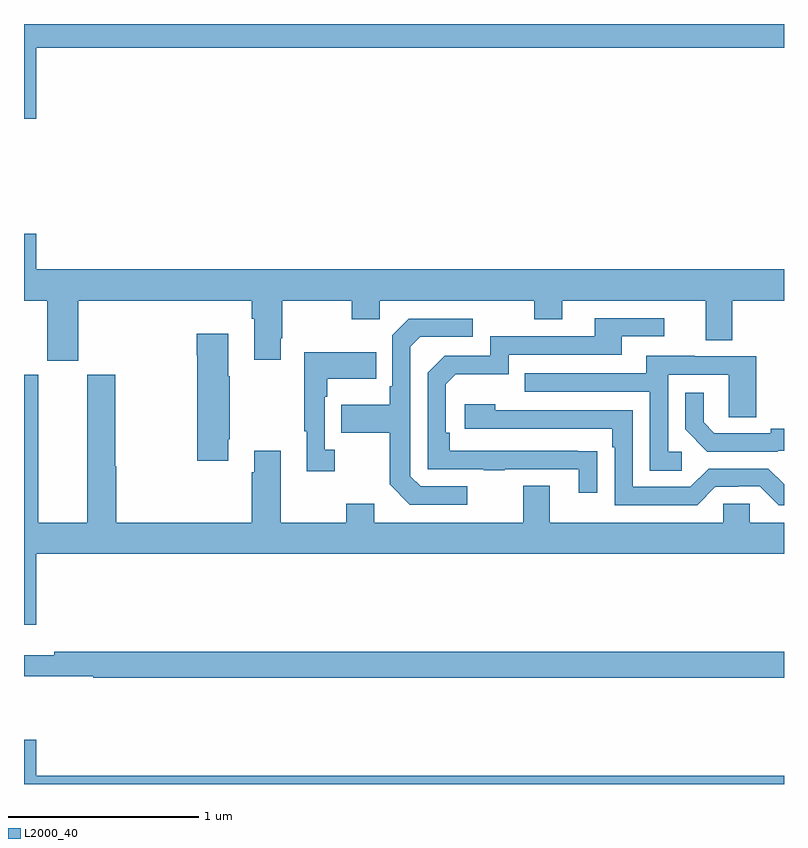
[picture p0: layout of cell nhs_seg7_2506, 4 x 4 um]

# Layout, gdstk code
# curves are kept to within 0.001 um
import gdstk
lib = gdstk.Library(unit=1e-6, precision=1e-09)
def P(c, l, *ps):  # polygons
    for p in ps: c.add(gdstk.Polygon(p, *l))
L2000_40 = (2000, 40)

nhs_seg7_2506 = lib.new_cell('nhs_seg7_2506')
P(nhs_seg7_2506, L2000_40, [(273.064,1073.876),(277,1073.876),(277,1074),(273,1074),(273,1073.502),(273.064,1073.502)],
  [(273.286,1072.544),(274.199,1072.544),(274.199,1072.448),(274.211,1072.448),(274.211,1072.233),(274.351,1072.233),(274.351,1072.345),(274.359,1072.345),(274.359,1072.544),(274.726,1072.544),(274.726,1072.445),(274.872,1072.445),(274.872,1072.544),(275.686,1072.544),(275.686,1072.445),(275.833,1072.445),(275.833,1072.544),(276.587,1072.544),(276.587,1072.336),(276.727,1072.336),(276.727,1072.544),(277,1072.544),(277,1072.708),(273.064,1072.708),(273.064,1072.897),(273,1072.897),(273,1072.544),(273.122,1072.544),(273.122,1072.227),(273.286,1072.227)],
  [(276.017,1071.752),(275.24,1071.753),(275.24,1071.85),(275.22,1071.85),(275.22,1072.104),(275.273,1072.157),(275.55,1072.157),(275.55,1072.26),(276.145,1072.26),(276.145,1072.356),(276.37,1072.356),(276.37,1072.452),(276.005,1072.452),(276.005,1072.356),(275.454,1072.356),(275.454,1072.254),(275.214,1072.254),(275.124,1072.164),(275.124,1071.657),(275.419,1071.657),(275.419,1071.652),(275.531,1071.652),(275.531,1071.657),(275.921,1071.657),(275.921,1071.534),(276.017,1071.534)],
  [(275.332,1071.567),(275.088,1071.567),(275.034,1071.621),(275.034,1072.302),(275.085,1072.353),(275.362,1072.353),(275.362,1072.449),(275.025,1072.449),(274.938,1072.362),(274.938,1072.093),(274.926,1072.093),(274.926,1071.997),(274.669,1071.997),(274.669,1071.85),(274.926,1071.85),(274.926,1071.577),(275.031,1071.471),(275.332,1071.471)],
  [(274.075,1071.814),(274.083,1071.814),(274.083,1072.145),(274.075,1072.145),(274.075,1072.369),(273.908,1072.369),(273.908,1072.256),(273.913,1072.256),(273.913,1071.702),(274.075,1071.702)],
  [(274.636,1071.758),(274.584,1071.758),(274.584,1072.037),(274.597,1072.037),(274.597,1072.133),(274.853,1072.133),(274.853,1072.273),(274.476,1072.273),(274.476,1071.857),(274.487,1071.857),(274.487,1071.645),(274.636,1071.645)],
  [(276.463,1071.75),(276.39,1071.75),(276.39,1072.155),(276.708,1072.155),(276.708,1071.931),(276.853,1071.931),(276.853,1072.251),(276.529,1072.251),(276.529,1072.255),(276.275,1072.255),(276.275,1072.161),(275.635,1072.161),(275.635,1072.065),(276.294,1072.065),(276.294,1071.649),(276.463,1071.649)],
  [(277,1071.376),(276.819,1071.376),(276.819,1071.474),(276.681,1071.474),(276.681,1071.376),(275.767,1071.376),(275.767,1071.571),(275.627,1071.571),(275.627,1071.376),(274.843,1071.376),(274.843,1071.475),(274.696,1071.475),(274.696,1071.376),(274.351,1071.376),(274.351,1071.754),(274.211,1071.754),(274.211,1071.641),(274.199,1071.641),(274.199,1071.376),(273.485,1071.376),(273.485,1071.672),(273.48,1071.672),(273.48,1072.155),(273.332,1072.155),(273.332,1071.376),(273.076,1071.376),(273.076,1072.155),(273,1072.155),(273,1070.838),(273.064,1070.838),(273.064,1071.212),(277,1071.212)],
  [(276.968,1071.753),(277,1071.753),(277,1071.869),(276.929,1071.869),(276.929,1071.846),(276.634,1071.846),(276.577,1071.903),(276.577,1072.06),(276.48,1072.06),(276.48,1071.866),(276.596,1071.75),(276.968,1071.75)],
  [(277,1071.578),(276.918,1071.66),(276.603,1071.66),(276.507,1071.564),(276.204,1071.564),(276.204,1071.966),(275.48,1071.966),(275.48,1072),(275.319,1072),(275.319,1071.87),(276.095,1071.87),(276.095,1071.773),(276.108,1071.773),(276.108,1071.468),(276.543,1071.468),(276.639,1071.564),(276.758,1071.564),(276.758,1071.567),(276.873,1071.567),(276.973,1071.467),(277,1071.467)],
  [(277,1070.696),(273.16,1070.696),(273.16,1070.677),(273,1070.677),(273,1070.568),(273.364,1070.568),(273.364,1070.56),(277,1070.56)],
  [(277,1070.044),(273.064,1070.044),(273.064,1070.233),(273,1070.233),(273,1070),(277,1070)])

lib.write_gds('nhs_seg7_2506.gds')
